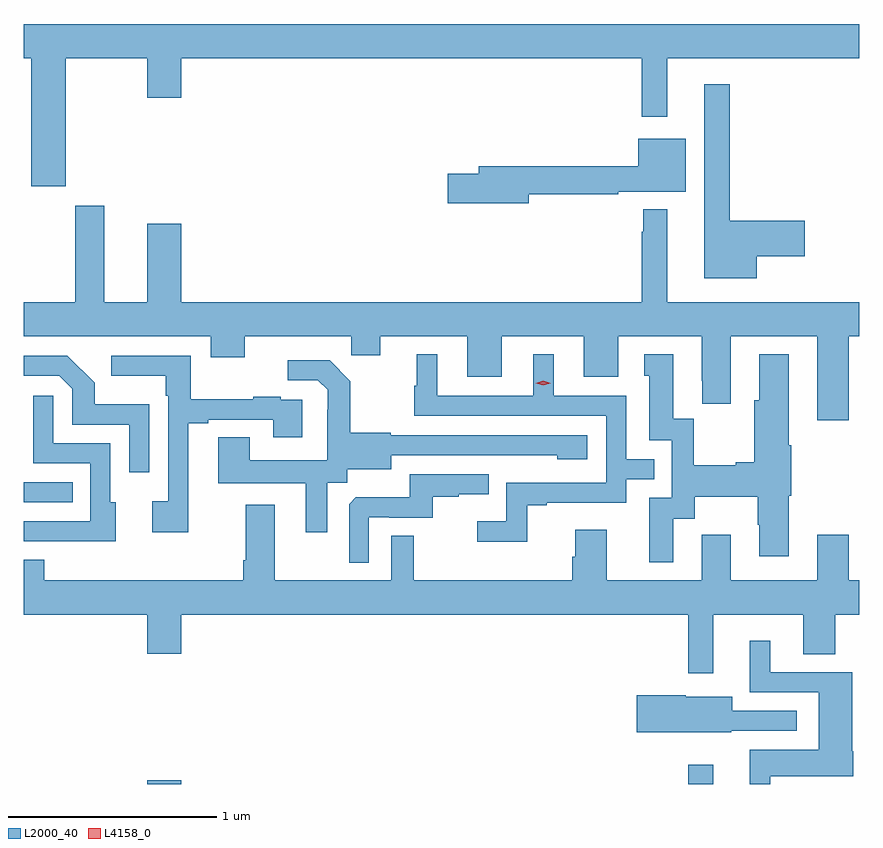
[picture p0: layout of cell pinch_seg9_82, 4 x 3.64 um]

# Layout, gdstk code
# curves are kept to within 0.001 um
import gdstk
lib = gdstk.Library(unit=1e-6, precision=1e-09)
def R(c, l, rs):  # rectangles x0, y0, x1, y1
    for r in rs: c.add(gdstk.rectangle(r[:2], r[2:], *l))
def P(c, l, *ps):  # polygons
    for p in ps: c.add(gdstk.Polygon(p, *l))
L2000_40 = (2000, 40)
L4158_0 = (4158, 0)

pinch_seg9_82 = lib.new_cell('pinch_seg9_82')
R(pinch_seg9_82, L2000_40, [(1028.144,1170.301,1028.308,1170.319), (1030.734,1170.301,1030.855,1170.394), (1027.553,1171.65,1027.787,1171.746)])
P(pinch_seg9_82, L2000_40, [(1027.753,1173.776),(1028.144,1173.776),(1028.144,1173.588),(1028.308,1173.588),(1028.308,1173.776),(1030.512,1173.776),(1030.512,1173.495),(1030.633,1173.495),(1030.633,1173.776),(1031.553,1173.776),(1031.553,1173.94),(1027.553,1173.94),(1027.553,1173.776),(1027.589,1173.776),(1027.589,1173.162),(1027.753,1173.162)],
  [(1031.062,1172.828),(1031.293,1172.828),(1031.293,1172.999),(1030.933,1172.999),(1030.933,1173.652),(1030.811,1173.652),(1030.811,1172.723),(1031.062,1172.723)],
  [(1029.97,1173.124),(1030.4,1173.124),(1030.4,1173.137),(1030.723,1173.137),(1030.723,1173.391),(1030.496,1173.391),(1030.496,1173.26),(1029.731,1173.26),(1029.731,1173.224),(1029.582,1173.224),(1029.582,1173.082),(1029.97,1173.082)],
  [(1028.308,1172.983),(1028.144,1172.983),(1028.144,1172.608),(1027.939,1172.608),(1027.939,1173.07),(1027.799,1173.07),(1027.799,1172.608),(1027.553,1172.608),(1027.553,1172.444),(1028.447,1172.444),(1028.447,1172.345),(1028.611,1172.345),(1028.611,1172.444),(1029.121,1172.444),(1029.121,1172.354),(1029.259,1172.354),(1029.259,1172.444),(1029.677,1172.444),(1029.677,1172.25),(1029.841,1172.25),(1029.841,1172.444),(1030.235,1172.444),(1030.235,1172.25),(1030.399,1172.25),(1030.399,1172.444),(1030.799,1172.444),(1030.799,1172.233),(1030.802,1172.233),(1030.802,1172.121),(1030.939,1172.121),(1030.939,1172.444),(1031.351,1172.444),(1031.351,1172.043),(1031.504,1172.043),(1031.504,1172.444),(1031.553,1172.444),(1031.553,1172.608),(1030.633,1172.608),(1030.633,1173.052),(1030.518,1173.052),(1030.518,1172.945),(1030.512,1172.945),(1030.512,1172.608),(1028.308,1172.608)],
  [(1029.963,1171.635),(1030.057,1171.635),(1030.057,1171.647),(1030.437,1171.647),(1030.437,1171.761),(1030.571,1171.761),(1030.571,1171.857),(1030.437,1171.857),(1030.437,1172.16),(1030.09,1172.16),(1030.09,1172.359),(1029.992,1172.359),(1029.992,1172.16),(1029.532,1172.16),(1029.532,1172.359),(1029.434,1172.359),(1029.434,1172.208),(1029.423,1172.208),(1029.423,1172.064),(1030.341,1172.064),(1030.341,1171.743),(1029.864,1171.743),(1029.864,1171.558),(1029.723,1171.558),(1029.723,1171.46),(1029.963,1171.46)],
  [(1030.663,1171.57),(1030.765,1171.57),(1030.765,1171.676),(1031.068,1171.676),(1031.068,1171.542),(1031.075,1171.542),(1031.075,1171.392),(1031.215,1171.392),(1031.215,1171.68),(1031.228,1171.68),(1031.228,1171.924),(1031.215,1171.924),(1031.215,1172.359),(1031.075,1172.359),(1031.075,1172.139),(1031.05,1172.139),(1031.05,1171.841),(1030.961,1171.841),(1030.961,1171.828),(1030.761,1171.828),(1030.761,1172.051),(1030.663,1172.051),(1030.663,1172.359),(1030.523,1172.359),(1030.523,1172.256),(1030.547,1172.256),(1030.547,1171.947),(1030.656,1171.947),(1030.656,1171.671),(1030.547,1171.671),(1030.547,1171.362),(1030.663,1171.362)],
  [(1028.341,1172.028),(1028.437,1172.028),(1028.437,1172.046),(1028.747,1172.046),(1028.747,1171.962),(1028.887,1171.962),(1028.887,1172.142),(1028.783,1172.142),(1028.783,1172.155),(1028.651,1172.155),(1028.651,1172.144),(1028.353,1172.144),(1028.353,1172.352),(1027.971,1172.352),(1027.971,1172.255),(1028.232,1172.255),(1028.232,1172.159),(1028.244,1172.159),(1028.244,1171.654),(1028.169,1171.654),(1028.169,1171.506),(1028.341,1171.506)],
  [(1028.154,1172.119),(1027.893,1172.119),(1027.893,1172.222),(1027.762,1172.352),(1027.553,1172.352),(1027.553,1172.256),(1027.722,1172.256),(1027.785,1172.193),(1027.785,1172.022),(1028.058,1172.022),(1028.058,1171.794),(1028.154,1171.794)],
  [(1029.007,1171.744),(1029.102,1171.744),(1029.102,1171.808),(1029.313,1171.808),(1029.313,1171.875),(1030.107,1171.874),(1030.107,1171.856),(1030.252,1171.856),(1030.252,1171.971),(1029.309,1171.971),(1029.309,1171.984),(1029.117,1171.984),(1029.117,1172.229),(1029.017,1172.329),(1028.817,1172.329),(1028.817,1172.235),(1028.961,1172.235),(1029.008,1172.188),(1029.008,1172.093),(1029.006,1172.093),(1029.006,1171.852),(1028.635,1171.852),(1028.635,1171.961),(1028.483,1171.961),(1028.483,1171.742),(1028.903,1171.742),(1028.903,1171.506),(1029.007,1171.506)],
  [(1027.993,1171.65),(1027.968,1171.65),(1027.968,1171.932),(1027.695,1171.932),(1027.695,1172.161),(1027.599,1172.161),(1027.599,1171.836),(1027.872,1171.836),(1027.872,1171.56),(1027.553,1171.56),(1027.553,1171.464),(1027.775,1171.464),(1027.775,1171.463),(1027.993,1171.463)],
  [(1029.204,1171.578),(1029.304,1171.578),(1029.304,1171.575),(1029.512,1171.575),(1029.512,1171.677),(1029.635,1171.677),(1029.635,1171.688),(1029.779,1171.688),(1029.779,1171.785),(1029.402,1171.785),(1029.402,1171.673),(1029.143,1171.673),(1029.111,1171.641),(1029.111,1171.361),(1029.204,1171.361)],
  [(1030.855,1171.112),(1031.285,1171.112),(1031.285,1170.922),(1031.438,1170.922),(1031.438,1171.112),(1031.553,1171.112),(1031.553,1171.276),(1031.504,1171.276),(1031.504,1171.495),(1031.351,1171.495),(1031.351,1171.276),(1030.939,1171.276),(1030.939,1171.495),(1030.799,1171.495),(1030.799,1171.276),(1030.345,1171.276),(1030.345,1171.519),(1030.193,1171.519),(1030.193,1171.389),(1030.18,1171.389),(1030.18,1171.276),(1029.421,1171.276),(1029.421,1171.49),(1029.312,1171.49),(1029.312,1171.276),(1028.755,1171.276),(1028.755,1171.639),(1028.615,1171.639),(1028.615,1171.372),(1028.603,1171.372),(1028.603,1171.276),(1027.651,1171.276),(1027.651,1171.375),(1027.553,1171.375),(1027.553,1171.112),(1028.144,1171.112),(1028.144,1170.924),(1028.308,1170.924),(1028.308,1171.112),(1030.734,1171.112),(1030.734,1170.831),(1030.855,1170.831)],
  [(1031.128,1170.338),(1031.524,1170.338),(1031.524,1170.459),(1031.519,1170.459),(1031.519,1170.837),(1031.128,1170.837),(1031.128,1170.988),(1031.03,1170.988),(1031.03,1170.741),(1031.36,1170.741),(1031.36,1170.466),(1031.03,1170.466),(1031.03,1170.301),(1031.128,1170.301)],
  [(1030.941,1170.555),(1031.254,1170.555),(1031.254,1170.651),(1030.945,1170.651),(1030.945,1170.718),(1030.722,1170.718),(1030.722,1170.726),(1030.488,1170.726),(1030.488,1170.548),(1030.941,1170.548)])
P(pinch_seg9_82, L4158_0, [(1030.041,1172.211),(1030.005,1172.22),(1030.005,1172.221),(1030.005,1172.221),(1030.041,1172.231),(1030.077,1172.221),(1030.077,1172.221),(1030.077,1172.22)])

lib.write_gds('pinch_seg9_82.gds')
